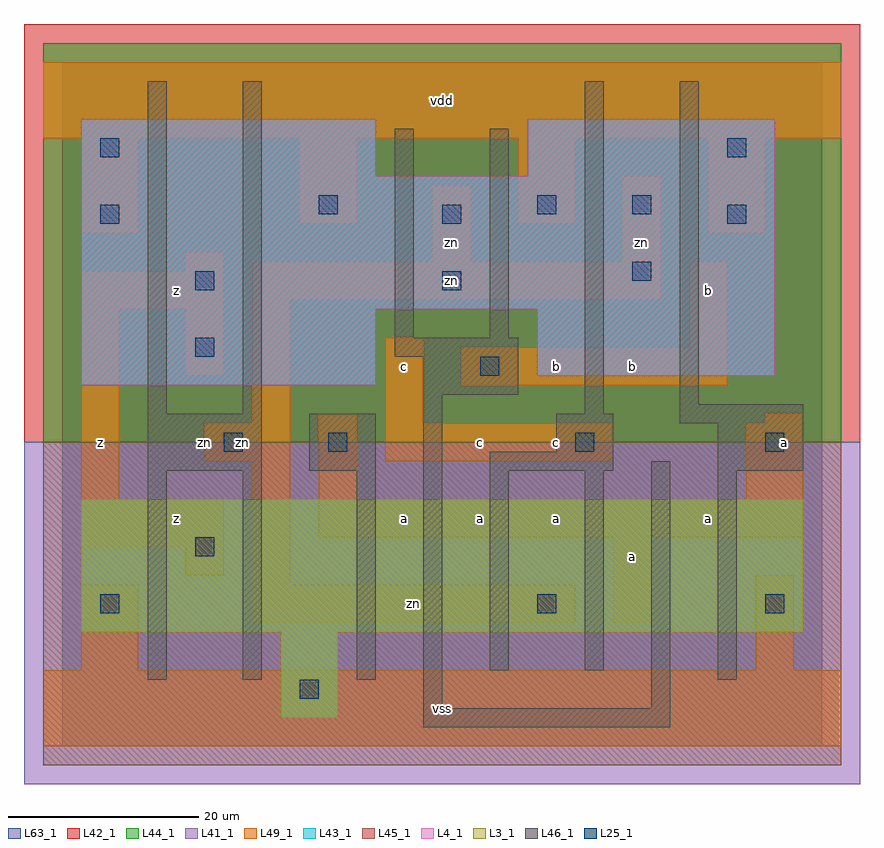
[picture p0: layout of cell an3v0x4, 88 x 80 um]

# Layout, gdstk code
import gdstk
lib = gdstk.Library(unit=1e-6, precision=1e-09)
def R(c, l, rs):  # rectangles x0, y0, x1, y1
    for r in rs: c.add(gdstk.rectangle(r[:2], r[2:], *l))
L3_1 = (3, 1)
L4_1 = (4, 1)
L25_1 = (25, 1)
L41_1 = (41, 1)
L42_1 = (42, 1)
L43_1 = (43, 1)
L44_1 = (44, 1)
L45_1 = (45, 1)
L46_1 = (46, 1)
L49_1 = (49, 1)
L63_1 = (63, 1)

an3v0x4 = lib.new_cell('an3v0x4')
R(an3v0x4, L3_1, [(23,3,29,12), (2,12,78,26)])
R(an3v0x4, L4_1, [(2,38,33,46), (50,39,75,46), (2,46,75,60), (2,60,33,66), (49,60,75,66)])
R(an3v0x4, L25_1, [(25,5,27,7), (4,14,6,16), (50,14,52,16), (74,14,76,16), (14,20,16,22), (17,31,19,33), (28,31,30,33), (54,31,56,33), (74,31,76,33), (44,39,46,41), (14,41,16,43), (14,48,16,50), (40,48,42,50), (60,49,62,51), (4,55,6,57), (40,55,42,57), (70,55,72,57), (27,56,29,58), (50,56,52,58), (60,56,62,58), (4,62,6,64), (70,62,72,64)])
R(an3v0x4, L41_1, [(-4,-4,84,32)])
R(an3v0x4, L42_1, [(-4,32,84,76)])
R(an3v0x4, L43_1, [(23,3,29,12), (2,12,78,26), (2,38,33,46), (50,39,75,46), (2,46,75,60), (2,60,33,66), (49,60,75,66)])
R(an3v0x4, L44_1, [(-2,32,82,74)])
R(an3v0x4, L45_1, [(-2,-2,82,32)])
R(an3v0x4, L46_1, [(38,2,64,4), (38,4,40,37), (62,4,64,30), (9,7,11,29), (19,7,21,29), (31,7,33,29), (69,7,71,29), (45,8,47,29), (55,8,57,29), (9,29,21,35), (26,29,33,35), (45,29,58,31), (69,29,78,34), (52,31,58,35), (65,34,78,36), (9,35,11,70), (19,35,21,70), (55,35,57,70), (65,36,67,70), (38,37,48,41), (35,41,48,43), (35,43,37,65), (45,43,47,65)])
R(an3v0x4, L49_1, [(-2,0,82,8), (2,8,8,17), (73,8,77,18), (20,13,54,17), (58,13,62,22), (20,17,24,30), (13,18,17,21), (2,21,17,26), (27,22,78,26), (2,26,6,46), (27,26,31,35), (72,26,78,34), (15,30,24,34), (34,30,58,34), (20,34,24,47), (34,34,38,43), (74,34,78,35), (42,38,70,42), (13,39,17,46), (66,42,70,51), (2,46,17,50), (20,47,63,51), (13,50,17,52), (39,51,43,59), (59,51,63,60), (2,54,8,64), (68,54,74,64), (25,55,31,64), (48,55,54,64), (-2,64,82,72)])
R(an3v0x4, L63_1, [(0,0,80,72)])
an3v0x4.add(gdstk.Label('zn', (15,32), layer=46, texttype=1))
an3v0x4.add(gdstk.Label('z', (4,32), layer=49, texttype=1))
an3v0x4.add(gdstk.Label('z', (12,24), layer=49, texttype=1))
an3v0x4.add(gdstk.Label('zn', (19,32), layer=49, texttype=1))
an3v0x4.add(gdstk.Label('z', (12,48), layer=49, texttype=1))
an3v0x4.add(gdstk.Label('vss', (40,4), layer=49, texttype=1))
an3v0x4.add(gdstk.Label('a', (44,24), layer=49, texttype=1))
an3v0x4.add(gdstk.Label('a', (36,24), layer=49, texttype=1))
an3v0x4.add(gdstk.Label('c', (44,32), layer=49, texttype=1))
an3v0x4.add(gdstk.Label('c', (36,40), layer=49, texttype=1))
an3v0x4.add(gdstk.Label('zn', (41,53), layer=49, texttype=1))
an3v0x4.add(gdstk.Label('vdd', (40,68), layer=49, texttype=1))
an3v0x4.add(gdstk.Label('zn', (37,15), layer=49, texttype=1))
an3v0x4.add(gdstk.Label('a', (52,24), layer=49, texttype=1))
an3v0x4.add(gdstk.Label('a', (60,20), layer=49, texttype=1))
an3v0x4.add(gdstk.Label('c', (52,32), layer=49, texttype=1))
an3v0x4.add(gdstk.Label('b', (52,40), layer=49, texttype=1))
an3v0x4.add(gdstk.Label('b', (60,40), layer=49, texttype=1))
an3v0x4.add(gdstk.Label('zn', (41,49), layer=49, texttype=1))
an3v0x4.add(gdstk.Label('zn', (61,53), layer=49, texttype=1))
an3v0x4.add(gdstk.Label('a', (68,24), layer=49, texttype=1))
an3v0x4.add(gdstk.Label('a', (76,32), layer=49, texttype=1))
an3v0x4.add(gdstk.Label('b', (68,48), layer=49, texttype=1))

lib.write_gds('an3v0x4.gds')
